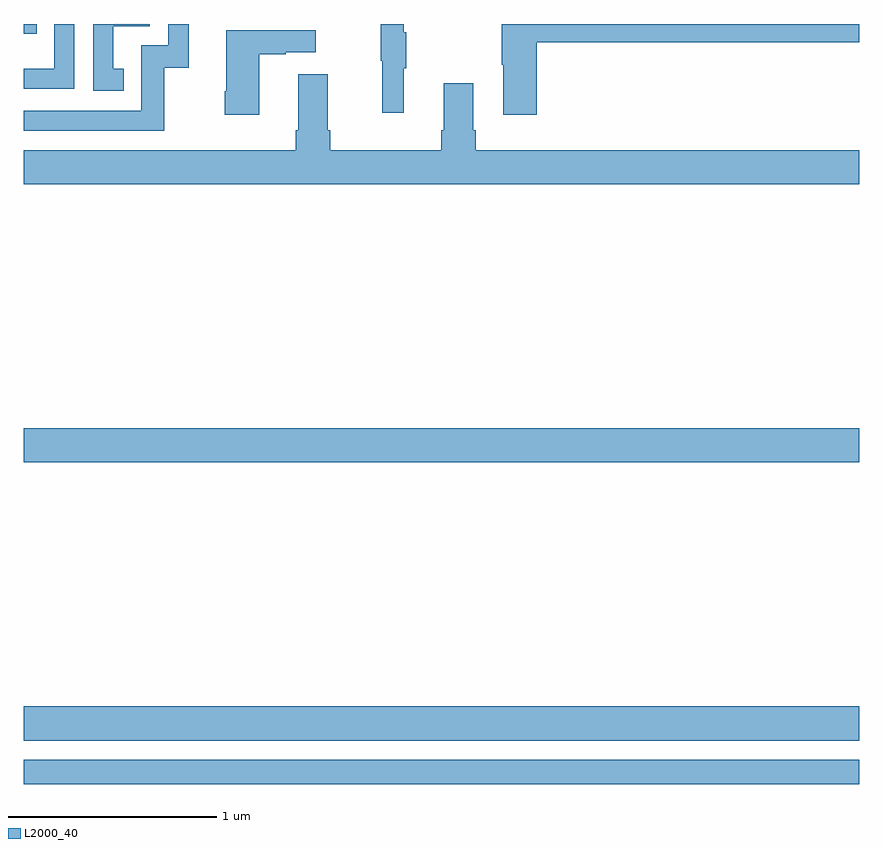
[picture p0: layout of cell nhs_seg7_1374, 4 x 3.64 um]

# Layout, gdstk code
import gdstk
lib = gdstk.Library(unit=1e-6, precision=1e-09)
def R(c, l, rs):  # rectangles x0, y0, x1, y1
    for r in rs: c.add(gdstk.rectangle(r[:2], r[2:], *l))
def P(c, l, *ps):  # polygons
    for p in ps: c.add(gdstk.Polygon(p, *l))
L2000_40 = (2000, 40)

nhs_seg7_1374 = lib.new_cell('nhs_seg7_1374')
R(nhs_seg7_1374, L2000_40, [(205,1048.36,209,1048.476), (205,1048.568,209,1048.732), (205,1049.9,209,1050.064), (205,1051.953,205.061,1052)])
P(nhs_seg7_1374, L2000_40, [(207.455,1051.912),(209,1051.912),(209,1052),(207.289,1052),(207.289,1051.804),(207.296,1051.804),(207.296,1051.566),(207.455,1051.566)],
  [(206.819,1051.787),(206.83,1051.787),(206.83,1051.961),(206.819,1051.961),(206.819,1052),(206.709,1052),(206.709,1051.824),(206.716,1051.824),(206.716,1051.575),(206.819,1051.575)],
  [(205.478,1051.785),(205.429,1051.785),(205.429,1051.989),(205.602,1051.989),(205.602,1052),(205.332,1052),(205.332,1051.68),(205.478,1051.68)],
  [(205.242,1052),(205.146,1052),(205.146,1051.786),(205,1051.786),(205,1051.689),(205.242,1051.689)],
  [(205.672,1051.791),(205.79,1051.791),(205.79,1052),(205.692,1052),(205.692,1051.899),(205.563,1051.899),(205.563,1051.584),(205,1051.584),(205,1051.488),(205.672,1051.488)],
  [(206.128,1051.855),(206.255,1051.855),(206.255,1051.865),(206.398,1051.865),(206.398,1051.969),(205.97,1051.969),(205.97,1051.678),(205.963,1051.678),(205.963,1051.566),(206.128,1051.566)],
  [(209,1051.396),(207.164,1051.396),(207.164,1051.492),(207.151,1051.492),(207.151,1051.717),(207.011,1051.717),(207.011,1051.492),(206.999,1051.492),(206.999,1051.396),(206.468,1051.396),(206.468,1051.492),(206.455,1051.492),(206.455,1051.759),(206.315,1051.759),(206.315,1051.492),(206.303,1051.492),(206.303,1051.396),(205,1051.396),(205,1051.232),(209,1051.232)])

lib.write_gds('nhs_seg7_1374.gds')
